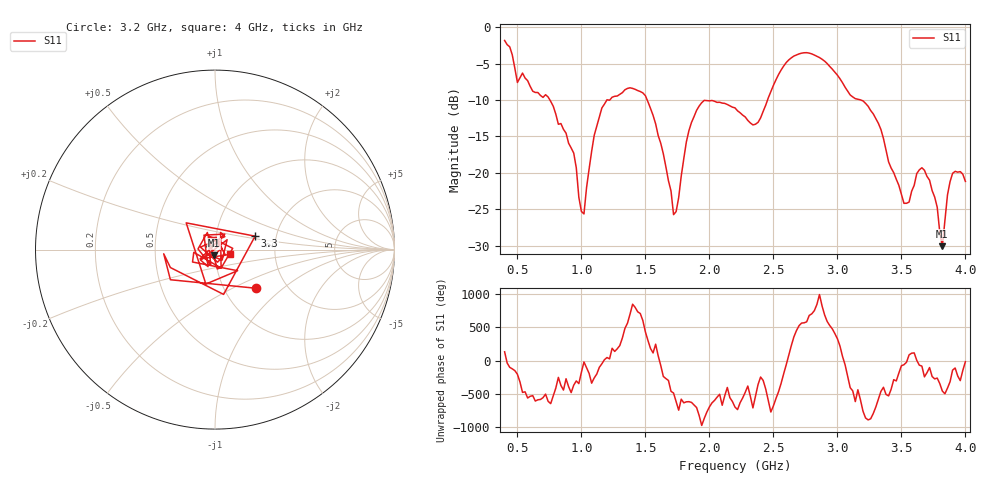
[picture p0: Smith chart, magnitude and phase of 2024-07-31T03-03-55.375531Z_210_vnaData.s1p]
!Created with skrf (http://scikit-rf.org).
# Hz S RI R 50.0
!freq ReS11 ImS11
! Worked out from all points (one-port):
!   181 points, 400 MHz to 4 GHz, reference 50 ohm
!   lowest |S11| = -30.0 dB at 3.82 GHz (marker M1), VSWR 1.07, Z = 49.3 - j3.06 ohm
!   |S11| at or under -10 dB: 753.9 MHz to 1.199 GHz (445.2 MHz wide, 45.6 % of centre); 1.514 GHz to 2.454 GHz (940.2 MHz wide, 47.4 % of centre); 3.183 GHz to end of sweep (the widest 3 of 4)
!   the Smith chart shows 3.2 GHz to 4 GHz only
!   S11 on the Smith chart (normalised r, x): 3.2 GHz: 1.40, -0.67; 3.3 GHz: 1.55, +0.25; 4 GHz: 1.18, -0.06
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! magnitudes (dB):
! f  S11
! 400 MHz  -1.8
! 500 MHz  -7.6
! 740 MHz  -9.6
! 860 MHz  -14.0
! 940 MHz  -17.3
! 1.02 GHz  -25.6
! 1.1 GHz  -14.8
! 1.16 GHz  -11.1
! 1.3 GHz  -9.2
! 1.5 GHz  -9.4
! 1.64 GHz  -17.4
! 1.72 GHz  -25.7
! 1.76 GHz  -23.4
! 1.82 GHz  -15.7
! 1.92 GHz  -10.8
! 2.2 GHz  -11.1
! 2.38 GHz  -13.1
! 2.66 GHz  -4.0
! 2.88 GHz  -4.4
! 3.1 GHz  -9.3
! 3.2 GHz  -10.1
! 3.3 GHz  -12.6
! 3.56 GHz  -24.0
! 3.68 GHz  -19.6
! 3.78 GHz  -24.7
! 3.82 GHz  -30.0
! 3.9 GHz  -20.1
! 4 GHz  -21.2
